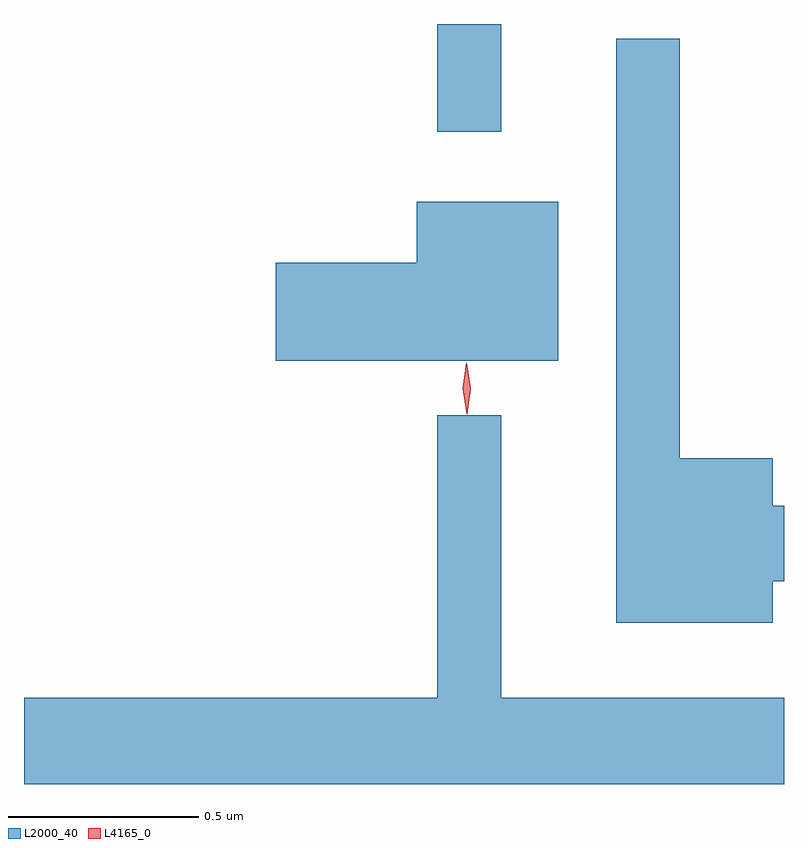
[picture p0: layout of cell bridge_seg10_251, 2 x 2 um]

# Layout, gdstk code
import gdstk
lib = gdstk.Library(unit=1e-6, precision=1e-09)
def R(c, l, rs):  # rectangles x0, y0, x1, y1
    for r in rs: c.add(gdstk.rectangle(r[:2], r[2:], *l))
def P(c, l, *ps):  # polygons
    for p in ps: c.add(gdstk.Polygon(p, *l))
L2000_40 = (2000, 40)
L4165_0 = (4165, 0)

bridge_seg10_251 = lib.new_cell('bridge_seg10_251')
R(bridge_seg10_251, L2000_40, [(1797.841,2089.033,1798.009,2089.317)])
P(bridge_seg10_251, L2000_40, [(1798.724,2087.851),(1798.753,2087.851),(1798.753,2088.049),(1798.724,2088.049),(1798.724,2088.174),(1798.479,2088.174),(1798.479,2089.278),(1798.311,2089.278),(1798.311,2087.741),(1798.724,2087.741)],
  [(1798.159,2088.849),(1797.786,2088.849),(1797.786,2088.689),(1797.416,2088.689),(1797.416,2088.431),(1798.159,2088.431)],
  [(1798.753,2087.544),(1798.009,2087.544),(1798.009,2088.288),(1797.841,2088.288),(1797.841,2087.544),(1796.753,2087.544),(1796.753,2087.317),(1798.753,2087.317)])
P(bridge_seg10_251, L4165_0, [(1797.918,2088.29),(1797.908,2088.358),(1797.917,2088.425),(1797.918,2088.426),(1797.918,2088.425),(1797.928,2088.358),(1797.919,2088.29),(1797.919,2088.29)],
  [(1797.919,2088.293),(1797.918,2088.294),(1797.908,2088.356),(1797.917,2088.419),(1797.917,2088.42),(1797.918,2088.419),(1797.928,2088.356),(1797.919,2088.294)])

lib.write_gds('bridge_seg10_251.gds')
